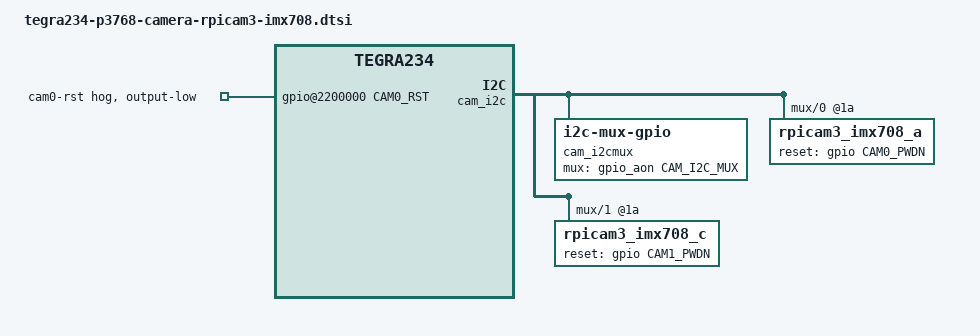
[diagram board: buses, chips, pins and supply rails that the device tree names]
/*
 * Copyright (c) 2022, NVIDIA CORPORATION.  All rights reserved.
 * Copyright (c) 2023, RidgeRun.  All rights reserved.
 *
 * This program is free software; you can redistribute it and/or modify
 * it under the terms of the GNU General Public License as published by
 * the Free Software Foundation; either version 2 of the License, or
 * (at your option) any later version.
 *
 * This program is distributed in the hope that it will be useful, but WITHOUT
 * ANY WARRANTY; without even the implied warranty of MERCHANTABILITY or
 * FITNESS FOR A PARTICULAR PURPOSE.  See the GNU General Public License for
 * more details.
 *
 * You should have received a copy of the GNU General Public License
 * along with this program.  If not, see <http://www.gnu.org/licenses/>.
 */

#include <dt-bindings/tegra234-p3767-0000-common.h>
#include "tegra234-camera-rpicam3-imx708.dtsi"

#define CAM0_RST        TEGRA234_MAIN_GPIO(H, 3)
#define CAM0_PWDN	TEGRA234_MAIN_GPIO(H, 6)
#define CAM1_PWDN	TEGRA234_MAIN_GPIO(AC, 0)
#define CAM_I2C_MUX 	TEGRA234_AON_GPIO(CC, 3)

/ {	
        overlay-name = "Camera IMX708 Dual";
        jetson-header-name = "Jetson 24pin CSI Connector";
        compatible = JETSON_COMPATIBLE_P3768;

	fragment-camera-imx708@0 {
		target-path = "/";
		__overlay__ {
			bus@0 {
				cam_i2cmux {
					status = "okay";
					compatible = "i2c-mux-gpio";
					#address-cells = <1>;
					#size-cells = <0>;
					i2c-parent = <&cam_i2c>;
					mux-gpios = <&gpio_aon CAM_I2C_MUX GPIO_ACTIVE_HIGH>;
					i2c@0 {
						status = "okay";
						reg = <0>;
						#address-cells = <1>;
						#size-cells = <0>;
						rpicam3_imx708_a@1a {
							reset-gpios = <&gpio CAM0_PWDN GPIO_ACTIVE_HIGH>;
						};
					};
					i2c@1 {
						status = "okay";
						reg = <1>;
						#address-cells = <1>;
						#size-cells = <0>;
						rpicam3_imx708_c@1a {
							reset-gpios = <&gpio CAM1_PWDN GPIO_ACTIVE_HIGH>;
						};
					};
				};
				gpio@2200000 {
					camera-control-output-low {
						gpio-hog;
						output-low;
						gpios = <CAM0_RST 0>;
						label = "cam0-rst";
					};
				};
			};
		};
	};
};
